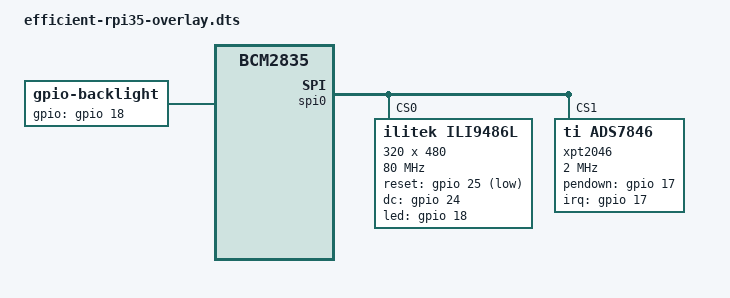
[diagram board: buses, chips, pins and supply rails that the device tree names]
/dts-v1/;
/plugin/;

/ {
    compatible = "brcm,bcm2835";
    
    fragment@0 {
        target = <&spi0>;
        __overlay__ {
            status = "okay";
            
            spidev@0 {
                status = "disabled";
            };
            
            spidev@1 {
                status = "disabled";
            };
            
            ili9486l: ili9486l@0 {
                compatible = "ilitek,ili9486l";
                reg = <0>;
                pinctrl-names = "default";
                pinctrl-0 = <&ili9486l_pins>;
                
                spi-max-frequency = <80000000>;
                spi-cpol;
                spi-cpha;
                
                rotate = <0>;
                bgr;
                fps = <60>;
                buswidth = <8>;
                
                reset-gpios = <&gpio 25 1>;
                dc-gpios = <&gpio 24 0>;
                led-gpios = <&gpio 18 0>;
                
                width = <320>;
                height = <480>;
                
                gamma = "04 1F 4A 0A 0E 09 54 A8 46 0F 17 09 0F 07 0B",
                        "04 1C 49 07 0D 14 5A 28 47 0E 1C 06 0D 08 0F";
                
                init = <0x01000011>, /* Sleep out */
                       <0x02000078>, /* Delay 120ms */
                       <0x010000B6>, /* Display Function Control */
                       <0x01000002>,
                       <0x01000002>,
                       <0x0100003B>,
                       <0x010000C0>, /* Power Control 1 */
                       <0x0100000F>,
                       <0x0100000F>,
                       <0x010000C1>, /* Power Control 2 */
                       <0x01000041>,
                       <0x010000C5>, /* VCOM Control 1 */
                       <0x01000000>,
                       <0x01000035>,
                       <0x01000080>,
                       <0x010000C7>, /* VCOM Control 2 */
                       <0x01000000>,
                       <0x0100003A>, /* Interface Pixel Format */
                       <0x01000055>,
                       <0x010000B1>, /* Frame Rate Control */
                       <0x01000000>,
                       <0x0100001B>,
                       <0x01000029>, /* Display On */
                       <0x02000064>; /* Delay 100ms */
            };
            
            xpt2046: xpt2046@1 {
                compatible = "ti,ads7846";
                reg = <1>;
                pinctrl-names = "default";
                pinctrl-0 = <&xpt2046_pins>;
                
                spi-max-frequency = <2000000>;
                interrupts = <17 2>; /* GPIO17, falling edge */
                interrupt-parent = <&gpio>;
                pendown-gpio = <&gpio 17 0>;
                ti,x-plate-ohms = <60>;
                ti,pressure-max = <255>;
                
                ti,x-min = /bits/ 16 <200>;
                ti,x-max = /bits/ 16 <3900>;
                ti,y-min = /bits/ 16 <200>;
                ti,y-max = /bits/ 16 <3900>;
                ti,swap-xy;
                ti,keep-vref-on;
                
                wakeup-source;
            };
        };
    };
    
    fragment@1 {
        target = <&gpio>;
        __overlay__ {
            ili9486l_pins: ili9486l_pins {
                brcm,pins = <24 25 18>;
                brcm,function = <1 1 1>; /* output */
                brcm,pull = <0 0 0>; /* no pull */
            };
            
            xpt2046_pins: xpt2046_pins {
                brcm,pins = <17>;
                brcm,function = <0>; /* input */
                brcm,pull = <2>; /* pull up */
            };
        };
    };
    
    fragment@2 {
        target-path = "/";
        __overlay__ {
            backlight: backlight {
                compatible = "gpio-backlight";
                gpios = <&gpio 18 0>;
                default-on;
            };
        };
    };
    
    fragment@3 {
        target = <&spi0_cs_pins>;
        __overlay__ {
            brcm,pins = <8 7>;
            brcm,function = <1>; /* output */
        };
    };
    
    __overrides__ {
        rotate = <&ili9486l>,"rotate:0";
        speed = <&ili9486l>,"spi-max-frequency:0";
        fps = <&ili9486l>,"fps:0";
        bgr = <&ili9486l>,"bgr?";
        
        touch-speed = <&xpt2046>,"spi-max-frequency:0";
        touch-x-min = <&xpt2046>,"ti,x-min;0";
        touch-x-max = <&xpt2046>,"ti,x-max;0";
        touch-y-min = <&xpt2046>,"ti,y-min;0";
        touch-y-max = <&xpt2046>,"ti,y-max;0";
        touch-swap-xy = <&xpt2046>,"ti,swap-xy?";
        touch-invert-x = <&xpt2046>,"ti,invert-x?";
        touch-invert-y = <&xpt2046>,"ti,invert-y?";
        
        reset-pin = <&ili9486l>,"reset-gpios:4",
                    <&ili9486l_pins>,"brcm,pins:0";
        dc-pin = <&ili9486l>,"dc-gpios:4",
                 <&ili9486l_pins>,"brcm,pins:4";
        led-pin = <&ili9486l>,"led-gpios:4",
                  <&ili9486l_pins>,"brcm,pins:8";
        irq-pin = <&xpt2046>,"interrupts:0",
                  <&xpt2046>,"pendown-gpio:4",
                  <&xpt2046_pins>,"brcm,pins:0";
    };
}; 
